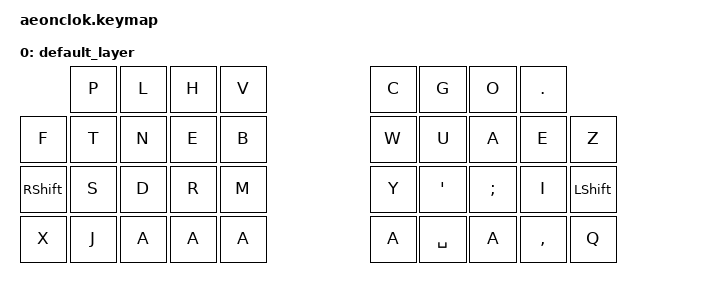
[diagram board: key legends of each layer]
#include <behaviors.dtsi>
#include <dt-bindings/zmk/keys.h>
#include <dt-bindings/zmk/bt.h>

#include <dt-bindings/zmk/mouse.h>
#include <behaviors/mouse_keys.dtsi>
#include <behaviors/mouse_keys.dtsi>
#include <behaviors/mouse_key_press.dtsi>
#include <dt-bindings/zmk/outputs.h>

#define ZMK_MOUSE_DEFAULT_SCRL_VAL 50 // 10

&msc {
    acceleration-exponent = <0>;      // 0
    time-to-max-speed-ms = <0>;       // 300
    delay-ms = <0>;                   // 0
};

/ {

    keymap {
        compatible = "zmk,keymap";
        default_layer {
        bindings = <
                        &kp P &kp L &kp H &kp V                   &kp C &kp G &kp O &kp DOT
                  &kp F &kp T &kp N &kp E &kp B                   &kp W &kp U &kp A &kp E &kp Z
        &kp RSHFT &kp S &kp D &kp R &kp M                               &kp Y &kp SQT &kp SEMI &kp I &kp LSHFT
        &kp X     &kp J             &kp A &kp A &kp A       &kp A &kp SPACE &kp A              &kp COMMA &kp Q
        >;
        };
    };
};

//                          RC(0,0) RC(0,1) RC(0,2) RC(0,3)                 RC(0,8) RC(0,7) RC(0,6) RC(0,5)
//                  RC(1,0) RC(1,1) RC(1,2) RC(1,3) RC(1,4)                 RC(1,9) RC(1,8) RC(1,7) RC(1,6) RC(1,5)
//          RC(2,0) RC(2,1) RC(2,2) RC(2,3) RC(2,4)                                 RC(2,9) RC(2,8) RC(2,7) RC(2,6) RC(2,5)
//          RC(3,0) RC(3,1)                 RC(3,2) RC(3,3) RC(3,4) RC(3,9) RC(3,8) RC(3,7)                 RC(3,6) RC(3,5)
